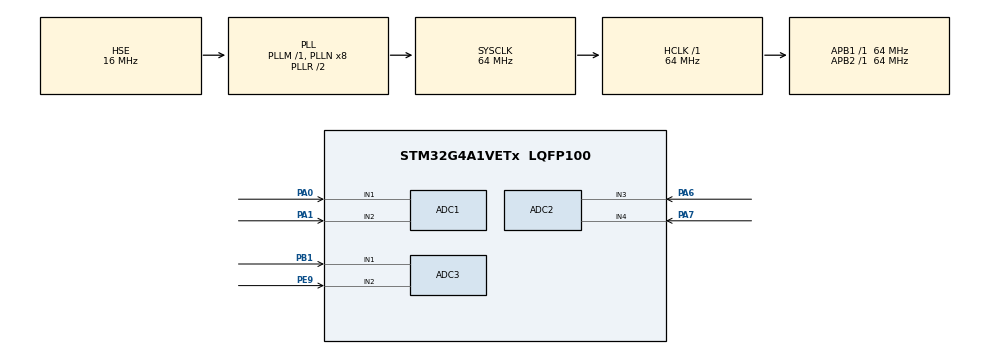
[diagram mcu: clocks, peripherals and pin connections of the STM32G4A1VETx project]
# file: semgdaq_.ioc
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ADC1.Channel-0\#ChannelRegularConversion=ADC_CHANNEL_1
ADC1.Channel-1\#ChannelRegularConversion=ADC_CHANNEL_2
ADC1.ContinuousConvMode=DISABLE
ADC1.DMAContinuousRequests=ENABLE
ADC1.ExternalTrigConv=ADC_EXTERNALTRIG_T6_TRGO
ADC1.NbrOfConversion=2
ADC1.NbrOfConversionFlag=1
ADC1.OffsetNumber-0\#ChannelRegularConversion=ADC_OFFSET_NONE
ADC1.OffsetNumber-1\#ChannelRegularConversion=ADC_OFFSET_NONE
ADC1.Rank-0\#ChannelRegularConversion=1
ADC1.Rank-1\#ChannelRegularConversion=2
ADC1.SamplingTime-0\#ChannelRegularConversion=ADC_SAMPLETIME_92CYCLES_5
ADC1.SamplingTime-1\#ChannelRegularConversion=ADC_SAMPLETIME_92CYCLES_5
ADC1.master=1
ADC2.Channel-0\#ChannelRegularConversion=ADC_CHANNEL_3
ADC2.Channel-1\#ChannelRegularConversion=ADC_CHANNEL_4
ADC2.DMAContinuousRequests=ENABLE
ADC2.ExternalTrigConv=ADC_EXTERNALTRIG_T7_TRGO
ADC2.NbrOfConversion=2
ADC2.NbrOfConversionFlag=1
ADC2.OffsetNumber-0\#ChannelRegularConversion=ADC_OFFSET_NONE
ADC2.OffsetNumber-1\#ChannelRegularConversion=ADC_OFFSET_NONE
ADC2.Rank-0\#ChannelRegularConversion=1
ADC2.Rank-1\#ChannelRegularConversion=2
ADC2.SamplingTime-0\#ChannelRegularConversion=ADC_SAMPLETIME_92CYCLES_5
ADC2.SamplingTime-1\#ChannelRegularConversion=ADC_SAMPLETIME_92CYCLES_5
ADC3.Channel-0\#ChannelRegularConversion=ADC_CHANNEL_1
ADC3.Channel-1\#ChannelRegularConversion=ADC_CHANNEL_2
ADC3.DMAContinuousRequests=ENABLE
ADC3.ExternalTrigConv=ADC_EXTERNALTRIG_T20_TRGO
ADC3.NbrOfConversion=2
ADC3.NbrOfConversionFlag=1
ADC3.OffsetNumber-0\#ChannelRegularConversion=ADC_OFFSET_NONE
ADC3.OffsetNumber-1\#ChannelRegularConversion=ADC_OFFSET_NONE
ADC3.Rank-0\#ChannelRegularConversion=1
ADC3.Rank-1\#ChannelRegularConversion=2
ADC3.SamplingTime-0\#ChannelRegularConversion=ADC_SAMPLETIME_92CYCLES_5
ADC3.SamplingTime-1\#ChannelRegularConversion=ADC_SAMPLETIME_92CYCLES_5
ADC3.master=1
Dma.ADC1.0.Direction=DMA_PERIPH_TO_MEMORY
Dma.ADC1.0.EventEnable=DISABLE
Dma.ADC1.0.Instance=DMA1_Channel1
Dma.ADC1.0.MemDataAlignment=DMA_MDATAALIGN_WORD
Dma.ADC1.0.MemInc=DMA_MINC_ENABLE
Dma.ADC1.0.Mode=DMA_CIRCULAR
Dma.ADC1.0.PeriphDataAlignment=DMA_PDATAALIGN_HALFWORD
Dma.ADC1.0.PeriphInc=DMA_PINC_DISABLE
Dma.ADC1.0.Polarity=HAL_DMAMUX_REQ_GEN_RISING
Dma.ADC1.0.Priority=DMA_PRIORITY_LOW
Dma.ADC1.0.RequestNumber=1
Dma.ADC1.0.SignalID=NONE
Dma.ADC1.0.SyncEnable=DISABLE
Dma.ADC1.0.SyncPolarity=HAL_DMAMUX_SYNC_NO_EVENT
Dma.ADC1.0.SyncRequestNumber=1
Dma.ADC1.0.SyncSignalID=NONE
Dma.ADC2.1.Direction=DMA_PERIPH_TO_MEMORY
Dma.ADC2.1.EventEnable=DISABLE
Dma.ADC2.1.Instance=DMA1_Channel6
Dma.ADC2.1.MemDataAlignment=DMA_MDATAALIGN_WORD
Dma.ADC2.1.MemInc=DMA_MINC_ENABLE
Dma.ADC2.1.Mode=DMA_CIRCULAR
Dma.ADC2.1.PeriphDataAlignment=DMA_PDATAALIGN_HALFWORD
Dma.ADC2.1.PeriphInc=DMA_PINC_DISABLE
Dma.ADC2.1.Polarity=HAL_DMAMUX_REQ_GEN_RISING
Dma.ADC2.1.Priority=DMA_PRIORITY_LOW
Dma.ADC2.1.RequestNumber=1
Dma.ADC2.1.SignalID=NONE
Dma.ADC2.1.SyncEnable=DISABLE
Dma.ADC2.1.SyncPolarity=HAL_DMAMUX_SYNC_NO_EVENT
Dma.ADC2.1.SyncRequestNumber=1
Dma.ADC2.1.SyncSignalID=NONE
Dma.ADC3.2.Direction=DMA_PERIPH_TO_MEMORY
Dma.ADC3.2.EventEnable=DISABLE
Dma.ADC3.2.Instance=DMA2_Channel1
Dma.ADC3.2.MemDataAlignment=DMA_MDATAALIGN_WORD
Dma.ADC3.2.MemInc=DMA_MINC_ENABLE
Dma.ADC3.2.Mode=DMA_CIRCULAR
Dma.ADC3.2.PeriphDataAlignment=DMA_PDATAALIGN_HALFWORD
Dma.ADC3.2.PeriphInc=DMA_PINC_DISABLE
Dma.ADC3.2.Polarity=HAL_DMAMUX_REQ_GEN_RISING
Dma.ADC3.2.Priority=DMA_PRIORITY_LOW
Dma.ADC3.2.RequestNumber=1
Dma.ADC3.2.SignalID=NONE
Dma.ADC3.2.SyncEnable=DISABLE
Dma.ADC3.2.SyncPolarity=HAL_DMAMUX_SYNC_NO_EVENT
Dma.ADC3.2.SyncRequestNumber=1
Dma.ADC3.2.SyncSignalID=NONE
Dma.Request0=ADC1
Dma.Request1=ADC2
Dma.Request2=ADC3
Mcu.Family=STM32G4
Mcu.Name=STM32G4A1VETx
Mcu.Package=LQFP100
NVIC.DMA1_Channel1_IRQn=true\:0\:0\:false\:false\:true\:false\:true\:true
NVIC.DMA1_Channel6_IRQn=true\:0\:0\:false\:false\:true\:false\:true\:true
NVIC.DMA2_Channel1_IRQn=true\:0\:0\:false\:false\:true\:false\:true\:true
NVIC.PriorityGroup=NVIC_PRIORITYGROUP_4
PA0.Mode=IN1-Single-Ended
PA0.Signal=ADC1_IN1
PA1.Mode=IN2-Single-Ended
PA1.Signal=ADC1_IN2
PA13.Mode=JTAG_4_pins
PA13.Signal=SYS_JTMS-SWDIO
PA14.Mode=JTAG_4_pins
PA14.Signal=SYS_JTCK-SWCLK
PA15.Mode=JTAG_4_pins
PA15.Signal=SYS_JTDI
PA6.Mode=IN3-Single-Ended
PA6.Signal=ADC2_IN3
PA7.Mode=IN4-Single-Ended
PA7.Signal=ADC2_IN4
PB1.Mode=IN1-Single-Ended
PB1.Signal=ADC3_IN1
PB3.Mode=JTAG_4_pins
PB3.Signal=SYS_JTDO-SWO
PE9.Mode=IN2-Single-Ended
PE9.Signal=ADC3_IN2
PF0-OSC_IN.Mode=HSE-External-Oscillator
PF0-OSC_IN.Signal=RCC_OSC_IN
PF1-OSC_OUT.Mode=HSE-External-Oscillator
PF1-OSC_OUT.Signal=RCC_OSC_OUT
ProjectManager.HeapSize=0x200
ProjectManager.StackSize=0x400
ProjectManager.TargetToolchain=STM32CubeIDE
RCC.ADC12Freq_Value=64000000
RCC.ADC345Freq_Value=64000000
RCC.AHBFreq_Value=64000000
RCC.APB1Freq_Value=64000000
RCC.APB1TimFreq_Value=64000000
RCC.APB2Freq_Value=64000000
RCC.APB2TimFreq_Value=64000000
RCC.CortexFreq_Value=64000000
RCC.EXTERNAL_CLOCK_VALUE=12288000
RCC.HCLKFreq_Value=64000000
RCC.HSE_VALUE=16000000
RCC.HSI48_VALUE=48000000
RCC.HSI_VALUE=16000000
RCC.LSE_VALUE=32768
RCC.PLLSourceVirtual=RCC_PLLSOURCE_HSE
RCC.SYSCLKFreq_VALUE=64000000
RCC.SYSCLKSource=RCC_SYSCLKSOURCE_PLLCLK
RCC.USBFreq_Value=48000000
RCC.VCOOutputFreq_Value=128000000
TIM20.PeriodNoDither=8-1
TIM20.Prescaler=8-1
TIM20.TIM_MasterOutputTrigger=TIM_TRGO_UPDATE
TIM6.PeriodNoDither=8-1
TIM6.Prescaler=8-1
TIM6.TIM_MasterOutputTrigger=TIM_TRGO_UPDATE
TIM7.PeriodNoDither=8-1
TIM7.Prescaler=8-1
TIM7.TIM_MasterOutputTrigger=TIM_TRGO_UPDATE
VP_FMAC_VS_FMAC.Mode=FMAC_Activate
VP_SYS_VS_DBSignals.Mode=DisableDeadBatterySignals
VP_TIM20_VS_ClockSourceITR.Mode=TriggerSource_ITR0
VP_TIM6_VS_ClockSourceINT.Mode=Enable_Timer
VP_TIM7_VS_ClockSourceINT.Mode=Enable_Timer
board=custom

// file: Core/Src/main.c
/* USER CODE BEGIN Header */
/**
  ******************************************************************************
  * @file           : main.c
  * @brief          : Main program body
  ******************************************************************************
  * @attention
  *
  * Copyright (c) 2024 STMicroelectronics.
  * All rights reserved.
  *
  * This software is licensed under terms that can be found in the LICENSE file
  * in the root directory of this software component.
  * If no LICENSE file comes with this software, it is provided AS-IS.
  *
  ******************************************************************************
  */
/* USER CODE END Header */
#include "main.h"

/* USER CODE BEGIN Includes */
#include <_ADCn_INx_NF.h>
/* USER CODE END Includes */

ADC_HandleTypeDef hadc1;
ADC_HandleTypeDef hadc2;
ADC_HandleTypeDef hadc3;
DMA_HandleTypeDef hdma_adc1;
DMA_HandleTypeDef hdma_adc2;
DMA_HandleTypeDef hdma_adc3;

FMAC_HandleTypeDef hfmac;

TIM_HandleTypeDef htim6;
TIM_HandleTypeDef htim7;
TIM_HandleTypeDef htim20;

/* USER CODE BEGIN PV */
ADC1_DMA_sort*ADC1_DMA_sort_ptr;
ADC2_DMA_sort*ADC2_DMA_sort_ptr;
ADC3_DMA_sort*ADC3_DMA_sort_ptr;

HAL_StatusTypeDef ADC_status;

/* USER CODE END PV */

void SystemClock_Config(void);
static void MX_GPIO_Init(void);
static void MX_DMA_Init(void);
static void MX_ADC1_Init(void);
static void MX_ADC2_Init(void);
static void MX_ADC3_Init(void);
static void MX_FMAC_Init(void);
static void MX_TIM6_Init(void);
static void MX_TIM7_Init(void);
static void MX_TIM20_Init(void);

int main(void)
{

  /* MCU Configuration--------------------------------------------------------*/

  /* Reset of all peripherals, Initializes the Flash interface and the Systick. */
  HAL_Init();

  /* USER CODE BEGIN Init */
  init_ADC1_IN1_struct(); // Pointer to the source buffer is initiaized at runtime
  init_ADC1_IN1_FO_biquad_filter();  // Initializes the filter coefficients and variables

  init_ADC1_IN2_struct();
  init_ADC1_IN2_FO_biquad_filter();

  init_ADC2_IN3_struct();
  init_ADC2_IN3_FO_biquad_filter();

  init_ADC2_IN4_struct();
  init_ADC2_IN4_FO_biquad_filter();

  init_ADC3_IN1_struct();
  init_ADC3_IN1_FO_biquad_filter();

  init_ADC3_IN2_struct();
  init_ADC3_IN2_FO_biquad_filter();
  /* USER CODE END Init */

  /* Configure the system clock */
  SystemClock_Config();

  /* Initialize all configured peripherals */
  MX_GPIO_Init();
  MX_DMA_Init();
  MX_ADC1_Init();
  MX_ADC2_Init();
  MX_ADC3_Init();
  MX_FMAC_Init();
  MX_TIM6_Init();
  MX_TIM7_Init();
  MX_TIM20_Init();
  /* USER CODE BEGIN 2 */

  //ADC1 is started using timer 6 tiggered conversions
  HAL_StatusTypeDef HAL_TIM_Base_Start(TIM_HandleTypeDef *htim6);
    ADC_status=HAL_ADC_Start_DMA(&hadc1, ADC1_DMA_sort_ptr->ADC1_DMA_bfr,ADC_DMA_BUFFERSIZE);

  HAL_StatusTypeDef HAL_TIM_Base_Start(TIM_HandleTypeDef *htim7);
    ADC_status=HAL_ADC_Start_DMA(&hadc2, ADC2_DMA_sort_ptr->ADC2_DMA_bfr,ADC_DMA_BUFFERSIZE);

  HAL_StatusTypeDef HAL_TIM_Base_Start(TIM_HandleTypeDef *htim20);
    ADC_status=HAL_ADC_Start_DMA(&hadc3, ADC3_DMA_sort_ptr->ADC3_DMA_bfr,ADC_DMA_BUFFERSIZE);

  /* USER CODE END 2 */

  /* Infinite loop */
  /* USER CODE BEGIN WHILE */
  while (1)
  {
	  update_ADC1_IN1_FO_biquad_filter();  // Filters channel 1 data
	  update_ADC1_IN2_FO_biquad_filter();

	  update_ADC2_IN3_FO_biquad_filter();
	  update_ADC2_IN4_FO_biquad_filter();

	  update_ADC3_IN1_FO_biquad_filter();
	  update_ADC3_IN2_FO_biquad_filter();

    /* USER CODE END WHILE */

  }
}

void SystemClock_Config(void)
{
  RCC_OscInitTypeDef RCC_OscInitStruct = {0};
  RCC_ClkInitTypeDef RCC_ClkInitStruct = {0};

  /** Configure the main internal regulator output voltage
  */
  HAL_PWREx_ControlVoltageScaling(PWR_REGULATOR_VOLTAGE_SCALE1);

  /** Initializes the RCC Oscillators according to the specified parameters
  * in the RCC_OscInitTypeDef structure.
  */
  RCC_OscInitStruct.OscillatorType = RCC_OSCILLATORTYPE_HSE;
  RCC_OscInitStruct.HSEState = RCC_HSE_ON;
  RCC_OscInitStruct.PLL.PLLState = RCC_PLL_ON;
  RCC_OscInitStruct.PLL.PLLSource = RCC_PLLSOURCE_HSE;
  RCC_OscInitStruct.PLL.PLLM = RCC_PLLM_DIV1;
  RCC_OscInitStruct.PLL.PLLN = 8;
  RCC_OscInitStruct.PLL.PLLP = RCC_PLLP_DIV2;
  RCC_OscInitStruct.PLL.PLLQ = RCC_PLLQ_DIV2;
  RCC_OscInitStruct.PLL.PLLR = RCC_PLLR_DIV2;
  if (HAL_RCC_OscConfig(&RCC_OscInitStruct) != HAL_OK)
  {
    Error_Handler();
  }

  /** Initializes the CPU, AHB and APB buses clocks
  */
  RCC_ClkInitStruct.ClockType = RCC_CLOCKTYPE_HCLK|RCC_CLOCKTYPE_SYSCLK
                              |RCC_CLOCKTYPE_PCLK1|RCC_CLOCKTYPE_PCLK2;
  RCC_ClkInitStruct.SYSCLKSource = RCC_SYSCLKSOURCE_PLLCLK;
  RCC_ClkInitStruct.AHBCLKDivider = RCC_SYSCLK_DIV1;
  RCC_ClkInitStruct.APB1CLKDivider = RCC_HCLK_DIV1;
  RCC_ClkInitStruct.APB2CLKDivider = RCC_HCLK_DIV1;

  if (HAL_RCC_ClockConfig(&RCC_ClkInitStruct, FLASH_LATENCY_2) != HAL_OK)
  {
    Error_Handler();
  }
}

static void MX_ADC1_Init(void)
{

  ADC_MultiModeTypeDef multimode = {0};
  ADC_ChannelConfTypeDef sConfig = {0};

  /** Common config
  */
  hadc1.Instance = ADC1;
  hadc1.Init.ClockPrescaler = ADC_CLOCK_SYNC_PCLK_DIV2;
  hadc1.Init.Resolution = ADC_RESOLUTION_12B;
  hadc1.Init.DataAlign = ADC_DATAALIGN_RIGHT;
  hadc1.Init.GainCompensation = 0;
  hadc1.Init.ScanConvMode = ADC_SCAN_ENABLE;
  hadc1.Init.EOCSelection = ADC_EOC_SINGLE_CONV;
  hadc1.Init.LowPowerAutoWait = DISABLE;
  hadc1.Init.ContinuousConvMode = DISABLE;
  hadc1.Init.NbrOfConversion = 2;
  hadc1.Init.DiscontinuousConvMode = DISABLE;
  hadc1.Init.ExternalTrigConv = ADC_EXTERNALTRIG_T6_TRGO;
  hadc1.Init.ExternalTrigConvEdge = ADC_EXTERNALTRIGCONVEDGE_RISING;
  hadc1.Init.DMAContinuousRequests = ENABLE;
  hadc1.Init.Overrun = ADC_OVR_DATA_PRESERVED;
  hadc1.Init.OversamplingMode = DISABLE;
  if (HAL_ADC_Init(&hadc1) != HAL_OK)
  {
    Error_Handler();
  }

  /** Configure the ADC multi-mode
  */
  multimode.Mode = ADC_MODE_INDEPENDENT;
  if (HAL_ADCEx_MultiModeConfigChannel(&hadc1, &multimode) != HAL_OK)
  {
    Error_Handler();
  }

  /** Configure Regular Channel
  */
  sConfig.Channel = ADC_CHANNEL_1;
  sConfig.Rank = ADC_REGULAR_RANK_1;
  sConfig.SamplingTime = ADC_SAMPLETIME_92CYCLES_5;
  sConfig.SingleDiff = ADC_SINGLE_ENDED;
  sConfig.OffsetNumber = ADC_OFFSET_NONE;
  sConfig.Offset = 0;
  if (HAL_ADC_ConfigChannel(&hadc1, &sConfig) != HAL_OK)
  {
    Error_Handler();
  }

  /** Configure Regular Channel
  */
  sConfig.Channel = ADC_CHANNEL_2;
  sConfig.Rank = ADC_REGULAR_RANK_2;
  if (HAL_ADC_ConfigChannel(&hadc1, &sConfig) != HAL_OK)
  {
    Error_Handler();
  }

}

static void MX_ADC2_Init(void)
{

  ADC_ChannelConfTypeDef sConfig = {0};

  /** Common config
  */
  hadc2.Instance = ADC2;
  hadc2.Init.ClockPrescaler = ADC_CLOCK_SYNC_PCLK_DIV2;
  hadc2.Init.Resolution = ADC_RESOLUTION_12B;
  hadc2.Init.DataAlign = ADC_DATAALIGN_RIGHT;
  hadc2.Init.GainCompensation = 0;
  hadc2.Init.ScanConvMode = ADC_SCAN_ENABLE;
  hadc2.Init.EOCSelection = ADC_EOC_SINGLE_CONV;
  hadc2.Init.LowPowerAutoWait = DISABLE;
  hadc2.Init.ContinuousConvMode = DISABLE;
  hadc2.Init.NbrOfConversion = 2;
  hadc2.Init.DiscontinuousConvMode = DISABLE;
  hadc2.Init.ExternalTrigConv = ADC_EXTERNALTRIG_T7_TRGO;
  hadc2.Init.ExternalTrigConvEdge = ADC_EXTERNALTRIGCONVEDGE_RISING;
  hadc2.Init.DMAContinuousRequests = ENABLE;
  hadc2.Init.Overrun = ADC_OVR_DATA_PRESERVED;
  hadc2.Init.OversamplingMode = DISABLE;
  if (HAL_ADC_Init(&hadc2) != HAL_OK)
  {
    Error_Handler();
  }

  /** Configure Regular Channel
  */
  sConfig.Channel = ADC_CHANNEL_3;
  sConfig.Rank = ADC_REGULAR_RANK_1;
  sConfig.SamplingTime = ADC_SAMPLETIME_92CYCLES_5;
  sConfig.SingleDiff = ADC_SINGLE_ENDED;
  sConfig.OffsetNumber = ADC_OFFSET_NONE;
  sConfig.Offset = 0;
  if (HAL_ADC_ConfigChannel(&hadc2, &sConfig) != HAL_OK)
  {
    Error_Handler();
  }

  /** Configure Regular Channel
  */
  sConfig.Channel = ADC_CHANNEL_4;
  sConfig.Rank = ADC_REGULAR_RANK_2;
  if (HAL_ADC_ConfigChannel(&hadc2, &sConfig) != HAL_OK)
  {
    Error_Handler();
  }

}

static void MX_ADC3_Init(void)
{

  ADC_ChannelConfTypeDef sConfig = {0};

  /** Common config
  */
  hadc3.Instance = ADC3;
  hadc3.Init.ClockPrescaler = ADC_CLOCK_SYNC_PCLK_DIV2;
  hadc3.Init.Resolution = ADC_RESOLUTION_12B;
  hadc3.Init.DataAlign = ADC_DATAALIGN_RIGHT;
  hadc3.Init.GainCompensation = 0;
  hadc3.Init.ScanConvMode = ADC_SCAN_ENABLE;
  hadc3.Init.EOCSelection = ADC_EOC_SINGLE_CONV;
  hadc3.Init.LowPowerAutoWait = DISABLE;
  hadc3.Init.ContinuousConvMode = DISABLE;
  hadc3.Init.NbrOfConversion = 2;
  hadc3.Init.DiscontinuousConvMode = DISABLE;
  hadc3.Init.ExternalTrigConv = ADC_EXTERNALTRIG_T20_TRGO;
  hadc3.Init.ExternalTrigConvEdge = ADC_EXTERNALTRIGCONVEDGE_RISING;
  hadc3.Init.DMAContinuousRequests = ENABLE;
  hadc3.Init.Overrun = ADC_OVR_DATA_PRESERVED;
  hadc3.Init.OversamplingMode = DISABLE;
  if (HAL_ADC_Init(&hadc3) != HAL_OK)
  {
    Error_Handler();
  }

  /** Configure Regular Channel
  */
  sConfig.Channel = ADC_CHANNEL_1;
  sConfig.Rank = ADC_REGULAR_RANK_1;
  sConfig.SamplingTime = ADC_SAMPLETIME_92CYCLES_5;
  sConfig.SingleDiff = ADC_SINGLE_ENDED;
  sConfig.OffsetNumber = ADC_OFFSET_NONE;
  sConfig.Offset = 0;
  if (HAL_ADC_ConfigChannel(&hadc3, &sConfig) != HAL_OK)
  {
    Error_Handler();
  }

  /** Configure Regular Channel
  */
  sConfig.Channel = ADC_CHANNEL_2;
  sConfig.Rank = ADC_REGULAR_RANK_2;
  if (HAL_ADC_ConfigChannel(&hadc3, &sConfig) != HAL_OK)
  {
    Error_Handler();
  }

}

static void MX_FMAC_Init(void)
{

  hfmac.Instance = FMAC;
  if (HAL_FMAC_Init(&hfmac) != HAL_OK)
  {
    Error_Handler();
  }

}

static void MX_TIM6_Init(void)
{

  TIM_MasterConfigTypeDef sMasterConfig = {0};

  htim6.Instance = TIM6;
  htim6.Init.Prescaler = 8-1;
  htim6.Init.CounterMode = TIM_COUNTERMODE_UP;
  htim6.Init.Period = 7;
  htim6.Init.AutoReloadPreload = TIM_AUTORELOAD_PRELOAD_DISABLE;
  if (HAL_TIM_Base_Init(&htim6) != HAL_OK)
  {
    Error_Handler();
  }
  sMasterConfig.MasterOutputTrigger = TIM_TRGO_UPDATE;
  sMasterConfig.MasterSlaveMode = TIM_MASTERSLAVEMODE_DISABLE;
  if (HAL_TIMEx_MasterConfigSynchronization(&htim6, &sMasterConfig) != HAL_OK)
  {
    Error_Handler();
  }

}

static void MX_TIM7_Init(void)
{

  TIM_MasterConfigTypeDef sMasterConfig = {0};

  htim7.Instance = TIM7;
  htim7.Init.Prescaler = 8-1;
  htim7.Init.CounterMode = TIM_COUNTERMODE_UP;
  htim7.Init.Period = 7;
  htim7.Init.AutoReloadPreload = TIM_AUTORELOAD_PRELOAD_DISABLE;
  if (HAL_TIM_Base_Init(&htim7) != HAL_OK)
  {
    Error_Handler();
  }
  sMasterConfig.MasterOutputTrigger = TIM_TRGO_UPDATE;
  sMasterConfig.MasterSlaveMode = TIM_MASTERSLAVEMODE_DISABLE;
  if (HAL_TIMEx_MasterConfigSynchronization(&htim7, &sMasterConfig) != HAL_OK)
  {
    Error_Handler();
  }

}

static void MX_TIM20_Init(void)
{

  TIM_SlaveConfigTypeDef sSlaveConfig = {0};
  TIM_MasterConfigTypeDef sMasterConfig = {0};

  htim20.Instance = TIM20;
  htim20.Init.Prescaler = 8-1;
  htim20.Init.CounterMode = TIM_COUNTERMODE_UP;
  htim20.Init.Period = 7;
  htim20.Init.ClockDivision = TIM_CLOCKDIVISION_DIV1;
  htim20.Init.RepetitionCounter = 0;
  htim20.Init.AutoReloadPreload = TIM_AUTORELOAD_PRELOAD_DISABLE;
  if (HAL_TIM_Base_Init(&htim20) != HAL_OK)
  {
    Error_Handler();
  }
  sSlaveConfig.SlaveMode = TIM_SLAVEMODE_DISABLE;
  sSlaveConfig.InputTrigger = TIM_TS_ITR0;
  if (HAL_TIM_SlaveConfigSynchro(&htim20, &sSlaveConfig) != HAL_OK)
  {
    Error_Handler();
  }
  sMasterConfig.MasterOutputTrigger = TIM_TRGO_UPDATE;
  sMasterConfig.MasterOutputTrigger2 = TIM_TRGO2_RESET;
  sMasterConfig.MasterSlaveMode = TIM_MASTERSLAVEMODE_DISABLE;
  if (HAL_TIMEx_MasterConfigSynchronization(&htim20, &sMasterConfig) != HAL_OK)
  {
    Error_Handler();
  }

}

static void MX_DMA_Init(void)
{

  /* DMA controller clock enable */
  __HAL_RCC_DMAMUX1_CLK_ENABLE();
  __HAL_RCC_DMA1_CLK_ENABLE();
  __HAL_RCC_DMA2_CLK_ENABLE();

  /* DMA interrupt init */
  /* DMA1_Channel1_IRQn interrupt configuration */
  HAL_NVIC_SetPriority(DMA1_Channel1_IRQn, 0, 0);
  HAL_NVIC_EnableIRQ(DMA1_Channel1_IRQn);
  /* DMA1_Channel6_IRQn interrupt configuration */
  HAL_NVIC_SetPriority(DMA1_Channel6_IRQn, 0, 0);
  HAL_NVIC_EnableIRQ(DMA1_Channel6_IRQn);
  /* DMA2_Channel1_IRQn interrupt configuration */
  HAL_NVIC_SetPriority(DMA2_Channel1_IRQn, 0, 0);
  HAL_NVIC_EnableIRQ(DMA2_Channel1_IRQn);

}

static void MX_GPIO_Init(void)
{

  /* GPIO Ports Clock Enable */
  __HAL_RCC_GPIOF_CLK_ENABLE();
  __HAL_RCC_GPIOA_CLK_ENABLE();
  __HAL_RCC_GPIOB_CLK_ENABLE();
  __HAL_RCC_GPIOE_CLK_ENABLE();

}

/* USER CODE BEGIN 4 */
void                    HAL_ADC_ConvHalfCpltCallback(ADC_HandleTypeDef *hadc)   // Fires when the upper half of the DMA buffer is filled
{
	 if (hadc->Instance == ADC1)
	   {
	        ADC1_DMA_sort_uhb(); // Handles the upper half of the DMA buffer

	        ADC1_DMA_sort_ptr->ADC1_DMA_mon=ADC1_DMA_sort_ptr->ADC1_DMA_bfr[ADC_DMA_QUATERBUFFERSIZE];  // Monitors one of the DMA buffer registers in the upper half of the buffer
	        ADC1_DMA_sort_ptr->ADC1_IN1_mon=ADC1_DMA_sort_ptr->ADC1_IN1_bfr[ADC_DMA_EIGHTHBUFFERSIZE];  // Monitors one of the IN1 data buffer registers in the upper half of the buffer
	        ADC1_DMA_sort_ptr->ADC1_IN2_mon=ADC1_DMA_sort_ptr->ADC1_IN2_bfr[ADC_DMA_EIGHTHBUFFERSIZE];  // Monitors one of the IN2 data buffer registers in the upper half of the buffer
	   }

	 if (hadc->Instance == ADC2)

	   {
		    ADC2_DMA_sort_uhb();

		    ADC2_DMA_sort_ptr->ADC2_DMA_mon=ADC2_DMA_sort_ptr->ADC2_DMA_bfr[ADC_DMA_QUATERBUFFERSIZE];
		    ADC2_DMA_sort_ptr->ADC2_IN3_mon=ADC2_DMA_sort_ptr->ADC2_IN3_bfr[ADC_DMA_EIGHTHBUFFERSIZE];
		    ADC2_DMA_sort_ptr->ADC2_IN4_mon=ADC2_DMA_sort_ptr->ADC2_IN4_bfr[ADC_DMA_EIGHTHBUFFERSIZE];
	   }

	 if (hadc->Instance == ADC3)

	   {
		    ADC3_DMA_sort_uhb();

		    ADC3_DMA_sort_ptr->ADC3_DMA_mon=ADC3_DMA_sort_ptr->ADC3_DMA_bfr[ADC_DMA_QUATERBUFFERSIZE];
		    ADC3_DMA_sort_ptr->ADC3_IN1_mon=ADC3_DMA_sort_ptr->ADC3_IN1_bfr[ADC_DMA_EIGHTHBUFFERSIZE];
		    ADC3_DMA_sort_ptr->ADC3_IN2_mon=ADC3_DMA_sort_ptr->ADC3_IN2_bfr[ADC_DMA_EIGHTHBUFFERSIZE];
	   }
};

void                    HAL_ADC_ConvCpltCallback(ADC_HandleTypeDef *hadc)  // Fires when the lower half of the DMA buffer is filled
{
	  if (hadc->Instance == ADC1)
		{
			ADC1_DMA_sort_lhb(); // Handles the lower half of the DMA buffer

			ADC1_DMA_sort_ptr->ADC1_DMA_mon=ADC1_DMA_sort_ptr->ADC1_DMA_bfr[ADC_DMA_HALFBUFFERSIZE + ADC_DMA_QUATERBUFFERSIZE]; // Monitors one of the DMA buffer registers in the lower half of the buffer
			ADC1_DMA_sort_ptr->ADC1_IN1_mon=ADC1_DMA_sort_ptr->ADC1_IN1_bfr[ADC_DMA_QUATERBUFFERSIZE + ADC_DMA_EIGHTHBUFFERSIZE];  // Monitors one of the IN1 data buffer registers in the lower half of the buffer
			ADC1_DMA_sort_ptr->ADC1_IN2_mon=ADC1_DMA_sort_ptr->ADC1_IN2_bfr[ADC_DMA_QUATERBUFFERSIZE + ADC_DMA_EIGHTHBUFFERSIZE];  // Monitors one of the IN2 data buffer registers in the lower half of the buffer
		}

	  if (hadc->Instance == ADC2)

		{
		     ADC2_DMA_sort_lhb();

		     ADC2_DMA_sort_ptr->ADC2_DMA_mon=ADC2_DMA_sort_ptr->ADC2_DMA_bfr[ADC_DMA_HALFBUFFERSIZE + ADC_DMA_QUATERBUFFERSIZE];
		     ADC2_DMA_sort_ptr->ADC2_IN3_mon=ADC2_DMA_sort_ptr->ADC2_IN3_bfr[ADC_DMA_QUATERBUFFERSIZE + ADC_DMA_EIGHTHBUFFERSIZE];
			 ADC2_DMA_sort_ptr->ADC2_IN4_mon=ADC2_DMA_sort_ptr->ADC2_IN4_bfr[ADC_DMA_QUATERBUFFERSIZE + ADC_DMA_EIGHTHBUFFERSIZE];
		}

	   if (hadc->Instance == ADC3)

		{
		     ADC3_DMA_sort_lhb();

			 ADC3_DMA_sort_ptr->ADC3_DMA_mon=ADC3_DMA_sort_ptr->ADC3_DMA_bfr[ADC_DMA_HALFBUFFERSIZE + ADC_DMA_QUATERBUFFERSIZE];
			 ADC3_DMA_sort_ptr->ADC3_IN1_mon=ADC3_DMA_sort_ptr->ADC3_IN1_bfr[ADC_DMA_QUATERBUFFERSIZE + ADC_DMA_EIGHTHBUFFERSIZE];
			 ADC3_DMA_sort_ptr->ADC3_IN2_mon=ADC3_DMA_sort_ptr->ADC3_IN2_bfr[ADC_DMA_QUATERBUFFERSIZE + ADC_DMA_EIGHTHBUFFERSIZE];
		}

};

/* USER CODE END 4 */

void Error_Handler(void)
{
  __disable_irq();
  while (1)
  {
  }
}
